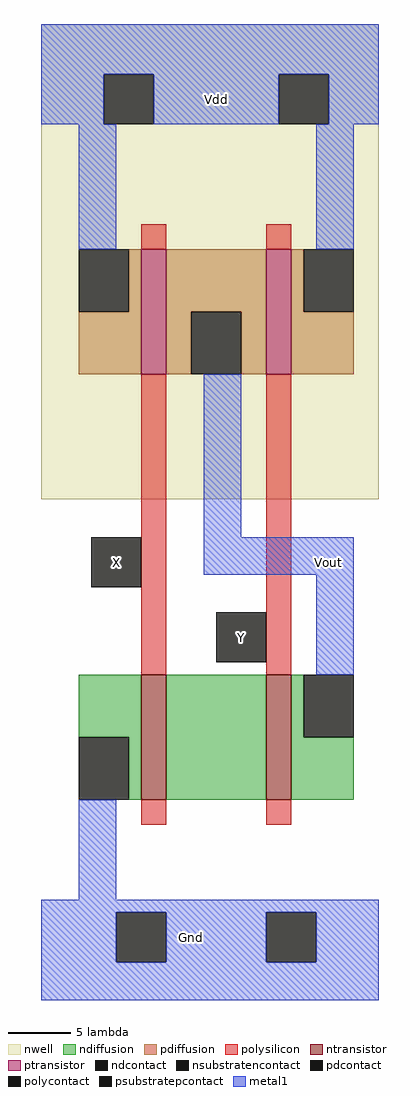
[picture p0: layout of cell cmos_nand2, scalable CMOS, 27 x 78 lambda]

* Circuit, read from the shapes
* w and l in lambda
.subckt cmos_nand2 Gnd Vdd Vout X Y
M1 n1 X Gnd Gnd nfet w=10 l=2
M2 Vout Y n1 Gnd nfet w=10 l=2
M3 Vout X Vdd Vdd pfet w=10 l=2
M4 Vdd Y Vout Vdd pfet w=10 l=2
.ends

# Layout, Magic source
magic
tech scmos
<< nwell >>
rect -1 6 26 44
<< polysilicon >>
rect 7 26 9 28
rect 17 26 19 28
rect 7 -8 9 16
rect 17 -8 19 16
rect 7 -20 9 -18
rect 17 -20 19 -18
<< ndiffusion >>
rect 2 -13 7 -8
rect 6 -18 7 -13
rect 9 -18 17 -8
rect 19 -13 20 -8
rect 19 -18 24 -13
<< pdiffusion >>
rect 6 21 7 26
rect 2 16 7 21
rect 9 21 17 26
rect 9 16 11 21
rect 15 16 17 21
rect 19 21 20 26
rect 19 16 24 21
<< metal1 >>
rect -1 40 26 44
rect -1 36 4 40
rect 8 36 18 40
rect 22 36 26 40
rect 2 26 5 36
rect 21 26 24 36
rect 12 3 15 16
rect 12 0 24 3
rect 21 -8 24 0
rect 2 -26 5 -18
rect -1 -27 26 -26
rect -1 -31 5 -27
rect 9 -31 17 -27
rect 21 -31 26 -27
rect -1 -34 26 -31
<< ntransistor >>
rect 7 -18 9 -8
rect 17 -18 19 -8
<< ptransistor >>
rect 7 16 9 26
rect 17 16 19 26
<< polycontact >>
rect 3 -1 7 3
rect 13 -7 17 -3
<< ndcontact >>
rect 2 -18 6 -13
rect 20 -13 24 -8
<< pdcontact >>
rect 2 21 6 26
rect 11 16 15 21
rect 20 21 24 26
<< psubstratepcontact >>
rect 5 -31 9 -27
rect 17 -31 21 -27
<< nsubstratencontact >>
rect 4 36 8 40
rect 18 36 22 40
<< labels >>
rlabel polycontact 5 1 5 1 3 X
rlabel polycontact 15 -5 15 -5 1 Y
rlabel metal1 22 1 22 1 7 Vout
rlabel metal1 11 -29 11 -29 1 Gnd
rlabel metal1 13 38 13 38 5 Vdd
<< end >>
